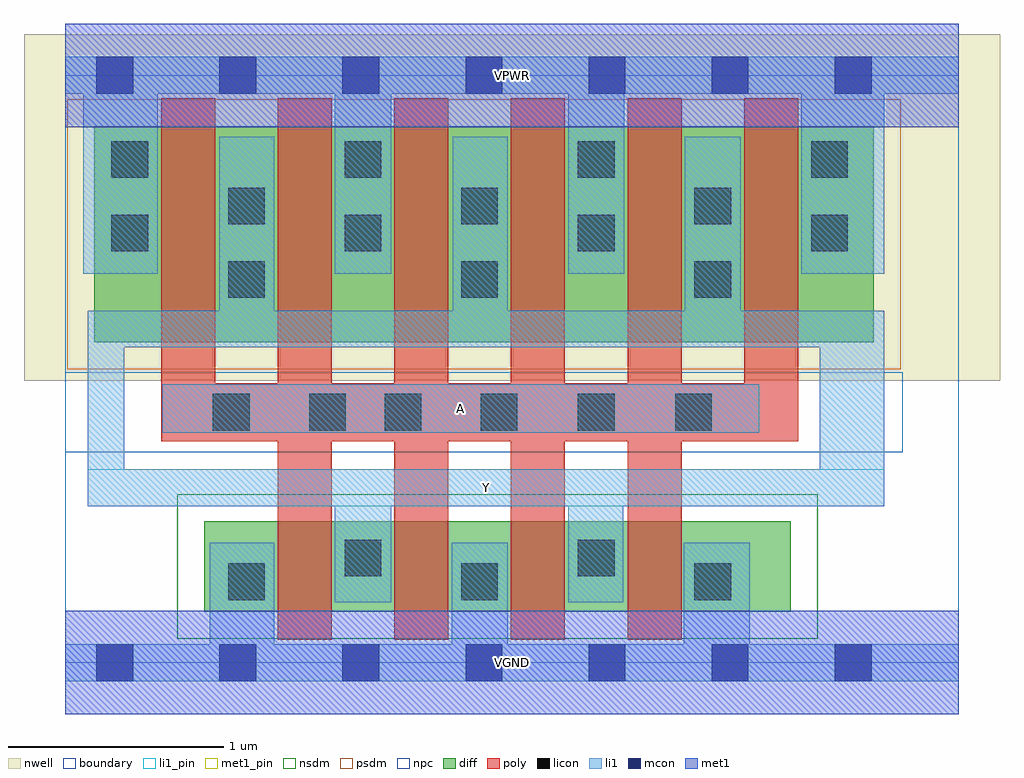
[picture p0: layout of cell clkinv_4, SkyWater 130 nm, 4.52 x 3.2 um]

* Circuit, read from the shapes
.subckt clkinv_4 A VGND VPWR Y
XM1 Y A VGND VSUBS sky130_fd_pr__nfet_01v8 w=0.42 l=0.25 m=4
XM2 Y A VPWR n1 sky130_fd_pr__pfet_01v8 w=1 l=0.25 m=6
.ends

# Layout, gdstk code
import gdstk
lib = gdstk.Library(unit=1e-6, precision=1e-09)
def R(c, l, rs):  # rectangles x0, y0, x1, y1
    for r in rs: c.add(gdstk.rectangle(r[:2], r[2:], *l))
def A(c, l, x, y, w, h, nx, ny, dx, dy):  # array of equal rectangles
    R(c, l, [(x+i*dx, y+j*dy, x+i*dx+w, y+j*dy+h) for i in range(nx) for j in range(ny)])
nwell = (64, 20)
diff = (65, 20)
poly = (66, 20)
licon = (66, 44)
li1_pin = (67, 16)
li1 = (67, 20)
mcon = (67, 44)
met1_pin = (68, 16)
met1 = (68, 20)
nsdm = (93, 44)
psdm = (94, 20)
npc = (95, 20)
boundary = (235, 4)

clkinv_4 = lib.new_cell('clkinv_4')
R(clkinv_4, nwell, [(-0.19,1.305,4.33,2.91), (0,1.305,4.14,2.91)])
R(clkinv_4, diff, [(0.645,0.235,3.36,0.655), (0.135,1.485,3.745,2.485)])
A(clkinv_4, poly, 0.985, 0.105, 0.25, 2.51, 4, 1, 0.54, 0)
R(clkinv_4, poly, [(0.445,1.025,3.395,1.295), (0.445,1.025,0.695,2.615), (3.145,1.025,3.395,2.615)])
A(clkinv_4, licon, 0.755, 0.29, 0.17, 0.17, 3, 2, 1.08, 1.4)
A(clkinv_4, licon, 1.925, 1.075, 0.17, 0.17, 3, 1, 0.45, 0)
A(clkinv_4, licon, 0.215, 1.905, 0.17, 0.17, 4, 2, 1.08, 0.34)
A(clkinv_4, licon, 0.755, 2.03, 0.17, 0.17, 3, 1, 1.08, 0)
R(clkinv_4, licon, [(1.295,0.4,1.465,0.57), (2.375,0.4,2.545,0.57), (0.685,1.075,0.855,1.245), (1.13,1.075,1.3,1.245), (1.48,1.075,1.65,1.245)])
R(clkinv_4, li1_pin, [(0.105,0.725,3.795,0.895), (0.45,1.065,3.215,1.29)])
R(clkinv_4, li1, [(0,-0.085,4.14,0.085), (0.67,-0.085,0.97,0.555), (1.79,-0.085,2.05,0.555), (2.865,-0.085,3.17,0.555), (1.25,0.28,1.51,0.895), (2.33,0.28,2.585,0.895), (0.105,0.725,3.795,0.895), (0.105,0.725,0.275,1.63), (3.495,0.725,3.795,1.63), (0.45,1.065,3.215,1.29), (0.105,1.46,3.795,1.63), (0.715,1.46,0.97,2.435), (1.795,1.46,2.05,2.435), (2.87,1.46,3.13,2.435), (0.085,1.8,0.43,2.805), (1.25,1.8,1.51,2.805), (2.33,1.8,2.59,2.805), (3.41,1.8,3.795,2.805), (0,2.635,4.14,2.805)])
A(clkinv_4, mcon, 0.145, -0.085, 0.17, 0.17, 7, 2, 0.57, 2.72)
R(clkinv_4, met1_pin, [(0,-0.24,4.14,0.24), (0,2.48,4.14,2.96)])
R(clkinv_4, met1, [(0,-0.24,4.14,0.24), (0,2.48,4.14,2.96)])
R(clkinv_4, nsdm, [(0.52,0.11,3.485,0.78)])
R(clkinv_4, psdm, [(0.01,1.36,3.87,2.61)])
R(clkinv_4, npc, [(0,0.975,3.88,1.345)])
R(clkinv_4, boundary, [(0,0,4.14,2.72)])
clkinv_4.add(gdstk.Label('A', (1.832,1.177), layer=67, texttype=5))
clkinv_4.add(gdstk.Label('Y', (1.95,0.81), layer=67, texttype=5))
clkinv_4.add(gdstk.Label('VPWR', (2.07,2.72), layer=68, texttype=5))
clkinv_4.add(gdstk.Label('VGND', (2.07,0), layer=68, texttype=5))
clkinv_4.add(gdstk.Label('A', (1.832,1.177), layer=67, texttype=16))
clkinv_4.add(gdstk.Label('Y', (1.95,0.81), layer=67, texttype=16))
clkinv_4.add(gdstk.Label('VPWR', (2.07,2.72), layer=68, texttype=16))
clkinv_4.add(gdstk.Label('VGND', (2.07,0), layer=68, texttype=16))

lib.write_gds('clkinv_4.gds')
